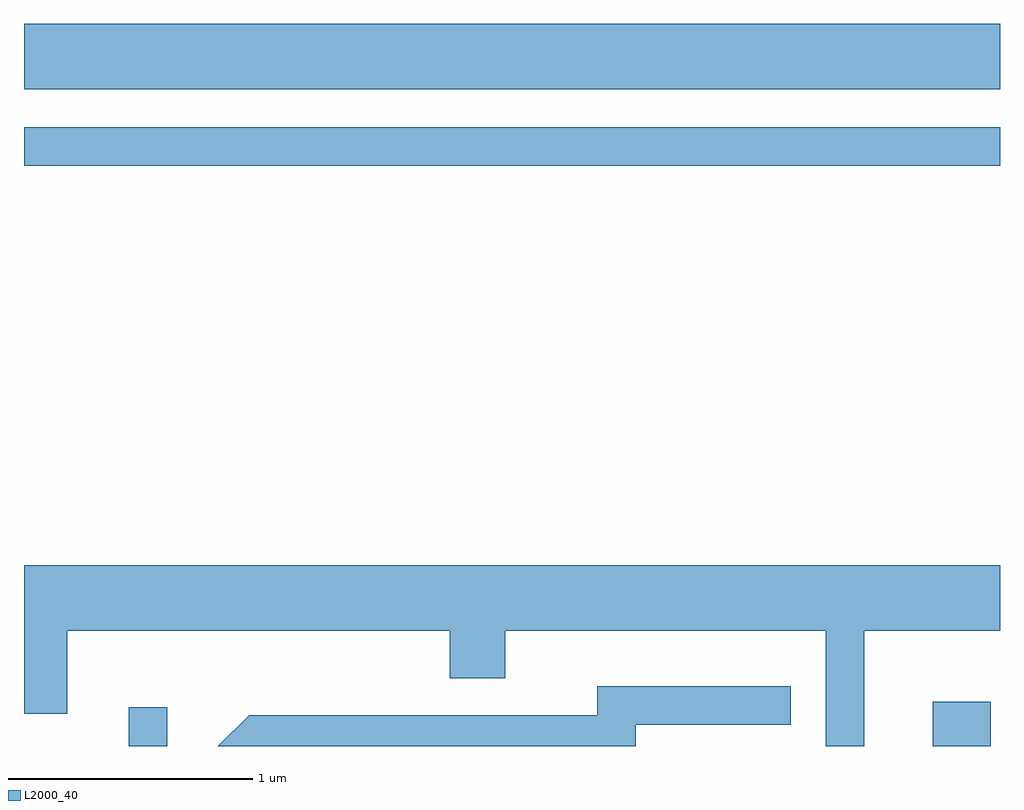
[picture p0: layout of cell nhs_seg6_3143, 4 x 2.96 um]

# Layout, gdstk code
import gdstk
lib = gdstk.Library(unit=1e-6, precision=1e-09)
def R(c, l, rs):  # rectangles x0, y0, x1, y1
    for r in rs: c.add(gdstk.rectangle(r[:2], r[2:], *l))
def P(c, l, *ps):  # polygons
    for p in ps: c.add(gdstk.Polygon(p, *l))
L2000_40 = (2000, 40)

nhs_seg6_3143 = lib.new_cell('nhs_seg6_3143')
R(nhs_seg6_3143, L2000_40, [(280.041,1616.162,280.199,1616.323), (283.336,1616.162,283.574,1616.344), (279.611,1618.541,283.611,1618.699), (279.611,1618.856,283.611,1619.124)])
P(nhs_seg6_3143, L2000_40, [(283.054,1616.636),(283.611,1616.636),(283.611,1616.904),(279.611,1616.904),(279.611,1616.296),(279.789,1616.296),(279.789,1616.636),(281.356,1616.636),(281.356,1616.441),(281.584,1616.441),(281.584,1616.636),(282.896,1616.636),(282.896,1616.162),(283.054,1616.162)],
  [(282.119,1616.251),(282.753,1616.251),(282.753,1616.409),(281.961,1616.409),(281.961,1616.289),(280.534,1616.289),(280.406,1616.162),(282.119,1616.162)])

lib.write_gds('nhs_seg6_3143.gds')
